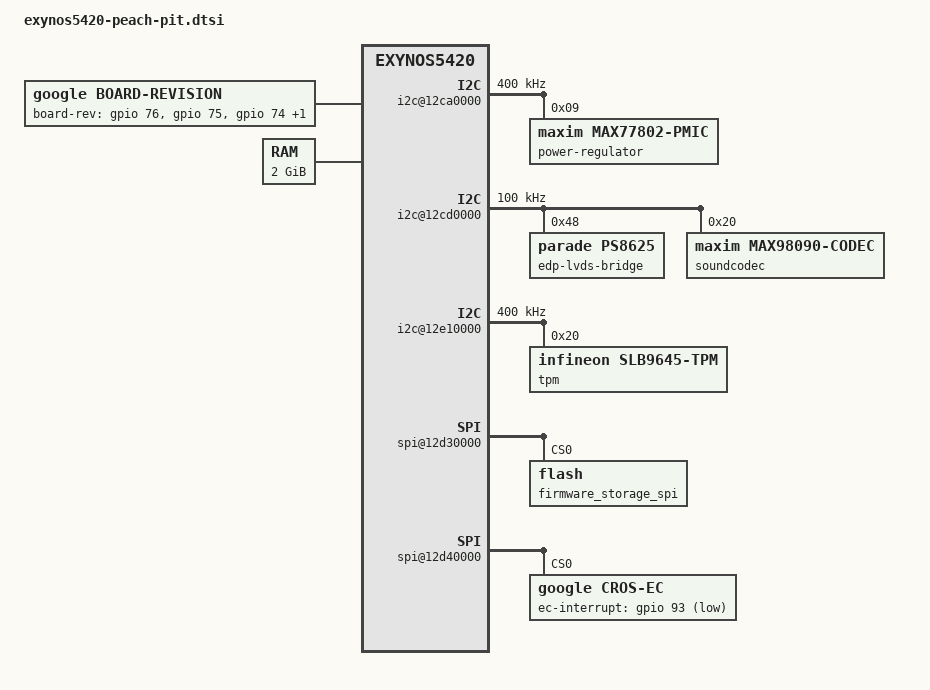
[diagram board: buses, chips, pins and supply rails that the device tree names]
/*
 * Common device tree include for all Peach Pit board revisions
 *
 * Copyright (c) 2013 The Chromium OS Authors. All rights reserved.
 * Use of this source code is governed by a BSD-style license that can be
 * found in the LICENSE file.
 */

/ {
	aliases {
		serial0 = "/serial@12C30000";
		console = "/serial@12C30000";
		pmic = "/i2c@12ca0000";
	};

	board-rev {
		compatible = "google,board-revision";
		google,board-rev-gpios = <&gpio 76 0>,
					 <&gpio 75 0>,
					 <&gpio 74 0>,
					 <&gpio 73 0>;

		/*
		 * Pit has 4 ternary bits giving us 81 possible raw revisions.
		 * We allocate the lowest two BINARY bits as a "subrevision", so
		 * we have 20 main revisions with 4 subrevisions each.
		 *
		 * If we see revision 2 we'll call that board revision "3"
		 * to match how boards have been labelled elsewhere.  Boards
		 * will increment from there.  If we see revision 0/1 we'll
		 * assume we've wrapped around.
		 */
		google,board-rev-map = [15 00  15 01  15 02  15 03
					16 00  16 01  16 02  16 03

					03 00  03 01  03 02  03 03
					04 00  04 01  04 02  04 03
					05 00  05 01  05 02  05 03
					06 00  06 01  06 02  06 03
					07 00  07 01  07 02  07 03
					08 00  08 01  08 02  08 03
					09 00  09 01  09 02  09 03
					0a 00  0a 01  0a 02  0a 03
					0b 00  0b 01  0b 02  0b 03
					0c 00  0c 01  0c 02  0c 03
					0d 00  0d 01  0d 02  0d 03
					0e 00  0e 01  0e 02  0e 03
					0f 00  0f 01  0f 02  0f 03
					10 00  10 01  10 02  10 03
					11 00  11 01  11 02  11 03
					12 00  12 01  12 02  12 03
					13 00  13 01  13 02  13 03
					14 00  14 01  14 02  14 03

					f0 00];
	};

	/*
	 * Temporary memory node for branch to make setup_arch_unused_memory()
	 * work. This is not used anywhere other than cmd/cmd_vboot_twostop.c
	 */
	memory {
		#address-cells = <1>;
		#size-cells = <1>;
		reg = <0x20000000 0x80000000>;
	};

	config {
		google,bad-wake-gpios = <&gpio 0x56 0>; /* gpx0-6 */
		hwid = "PIT TEST A-A 7848";
		lazy-init = <1>;
	};

	chromeos-config {
		textbase = <0x23e00000>;/* Address where U-Boot loads */
	};

	dmc {
		mem-manuf = "samsung";
		mem-type = "ddr3";
		clock-frequency = <800000000>;
		arm-frequency = <1700000000>;
	};

	ramoops {
		reg = <0x41f00000 0x00100000>;
	};

	tmu@10060000 {
		samsung,min-temp	= <25>;
		samsung,max-temp	= <125>;
		samsung,start-warning	= <95>;
		samsung,start-tripping	= <105>;
		samsung,hw-tripping	= <110>;
		samsung,efuse-min-value	= <40>;
		samsung,efuse-value	= <55>;
		samsung,efuse-max-value	= <100>;
		samsung,slope		= <274761730>;
		samsung,dc-value	= <25>;
	};

	i2c@12ca0000 { /* i2c4 */
		clock-frequency = <400000>;
		power-regulator@9 {
			compatible = "maxim,max77802-pmic";
			reg = <0x9>;
		};
	};

	i2c@12cd0000 { /* i2c7 */
		clock-frequency = <100000>;
		edp-lvds-bridge@48 {
			compatible = "parade,ps8625";
			reg = <0x48>;
		};
	       soundcodec@20 {
	              reg = <0x20>;
	              compatible = "maxim,max98090-codec";
	       };
	};

	i2c@12e10000 { /* i2c9 */
		clock-frequency = <400000>;
                tpm@20 {
                        compatible = "infineon,slb9645-tpm";
                        reg = <0x20>;
		};
	};

	spi@12d30000 { /* spi1 */
		spi-max-frequency = <50000000>;
		firmware_storage_spi: flash@0 {
			reg = <0>;

			/*
			 * A region for the kernel to store a panic event
			 * which the firmware will add to the log.
			*/
			elog-panic-event-offset = <0x01e00000 0x100000>;

			elog-shrink-size = <0x400>;
			elog-full-threshold = <0xc00>;
		};
	};

	spi@12d40000 { /* spi2 */
		spi-max-frequency = <4000000>;
		spi-deactivate-delay = <200>;
		cros-ec@0 {
			reg = <0>;
			compatible = "google,cros-ec";
			spi-half-duplex;
			spi-max-timeout-ms = <1100>;
			spi-frame-header = <0xec>;
			ec-interrupt = <&gpio 93 1>; /* GPX1_5 */

			/*
			 * This describes the flash memory within the EC. Note
			 * that the STM32L flash erases to 0, not 0xff.
			 */
			#address-cells = <1>;
			#size-cells = <1>;
			flash@8000000 {
				reg = <0x08000000 0x20000>;
				erase-value = <0>;
			};
		};
	};

	fimd@14400000 {
		samsung,vl-freq = <60>;
		samsung,vl-col = <1366>;
		samsung,vl-row = <768>;
		samsung,vl-width = <1366>;
		samsung,vl-height = <768>;

		samsung,vl-clkp;
		samsung,vl-dp;
		samsung,vl-bpix = <4>;

		samsung,vl-hspw = <32>;
		samsung,vl-hbpd = <40>;
		samsung,vl-hfpd = <40>;
		samsung,vl-vspw = <6>;
		samsung,vl-vbpd = <10>;
		samsung,vl-vfpd = <12>;
		samsung,vl-cmd-allow-len = <0xf>;

		samsung,winid = <3>;
		samsung,interface-mode = <1>;
		samsung,dp-enabled = <1>;
		samsung,dual-lcd-enabled = <0>;
	};

	cros-ec-keyb {
		compatible = "google,cros-ec-keyb";
		google,key-rows = <8>;
		google,key-columns = <13>;
		google,repeat-delay-ms = <240>;
		google,repeat-rate-ms = <30>;
		google,ghost-filter;
		/*
		 * Keymap entries take the form of 0xRRCCKKKK where
		 * RR=Row CC=Column KKKK=Key Code
		 * The values below are for a US keyboard layout and
		 * are taken from the Linux driver. Note that the
		 * 102ND key is not used for US keyboards.
		 */
		linux,keymap = <
			/* CAPSLCK F1         B          F10     */
			0x0001003a 0x0002003b 0x00030030 0x00040044
			/* N       =          R_ALT      ESC     */
			0x00060031 0x0008000d 0x000a0064 0x01010001
			/* F4      G          F7         H       */
			0x0102003e 0x01030022 0x01040041 0x01060023
			/* '       F9         BKSPACE    L_CTRL  */
			0x01080028 0x01090043 0x010b000e 0x0200001d
			/* TAB     F3         T          F6      */
			0x0201000f 0x0202003d 0x02030014 0x02040040
			/* ]       Y          102ND      [       */
			0x0205001b 0x02060015 0x02070056 0x0208001a
			/* F8      GRAVE      F2         5       */
			0x02090042 0x03010029 0x0302003c 0x03030006
			/* F5      6          -          \       */
			0x0304003f 0x03060007 0x0308000c 0x030b002b
			/* R_CTRL  A          D          F       */
			0x04000061 0x0401001e 0x04020020 0x04030021
			/* S       K          J          ;       */
			0x0404001f 0x04050025 0x04060024 0x04080027
			/* L       ENTER      Z          C       */
			0x04090026 0x040b001c 0x0501002c 0x0502002e
			/* V       X          ,          M       */
			0x0503002f 0x0504002d 0x05050033 0x05060032
			/* L_SHIFT /          .          SPACE   */
			0x0507002a 0x05080035 0x05090034 0x050B0039
			/* 1       3          4          2       */
			0x06010002 0x06020004 0x06030005 0x06040003
			/* 8       7          0          9       */
			0x06050009 0x06060008 0x0608000b 0x0609000a
			/* L_ALT   DOWN       RIGHT      Q       */
			0x060a0038 0x060b006c 0x060c006a 0x07010010
			/* E       R          W          I       */
			0x07020012 0x07030013 0x07040011 0x07050017
			/* U       R_SHIFT    P          O       */
			0x07060016 0x07070036 0x07080019 0x07090018
			/* UP      LEFT    */
			0x070b0067 0x070c0069>;
	};

	chromeos-config {
		virtual-dev-switch;
		firmware-storage = <&firmware_storage_spi>;

		vboot-flag-write-protect {
			compatible = "google,gpio-flag";
			/* APU1_SPI_WP#, XEINT_24 aka gpx30 */
			gpio = <&gpio 104 1>;
		};
		vboot-flag-developer {
			compatible = "google,const-flag";
			value = <0>;
		};
		vboot-flag-lid-open {
			compatible = "google,gpio-flag";
			/* APU1_LID_OPEN, XEINT_28, aka gpx34. */
			gpio = <&gpio 108 0>;
		};
		vboot-flag-power-off {
			compatible = "google,gpio-flag";
			/* PMC1_ONO#,  XEINT_10 aka gpx12 */
			gpio = <&gpio 90 1>;
		};
		vboot-flag-oprom-loaded {
			compatible = "google,const-flag";
			value = <0>;
		};
		vboot-flag-ec-in-rw {
			compatible = "google,gpio-flag";
			/* APU1_EC_EN_RW, XEINT_19 aka gpx23 */
			gpio = <&gpio 99 0>;
		};
	};

	xhci@12000000 {
		samsung,vbus-gpio = <&gpio 0x40 0>; /* H00 */
	};

	xhci@12400000 {
		samsung,vbus-gpio = <&gpio 0x41 0>; /* H01 */
	};

        sound@3830000 {
                samsung,codec-type = "max98090";
        };
};
